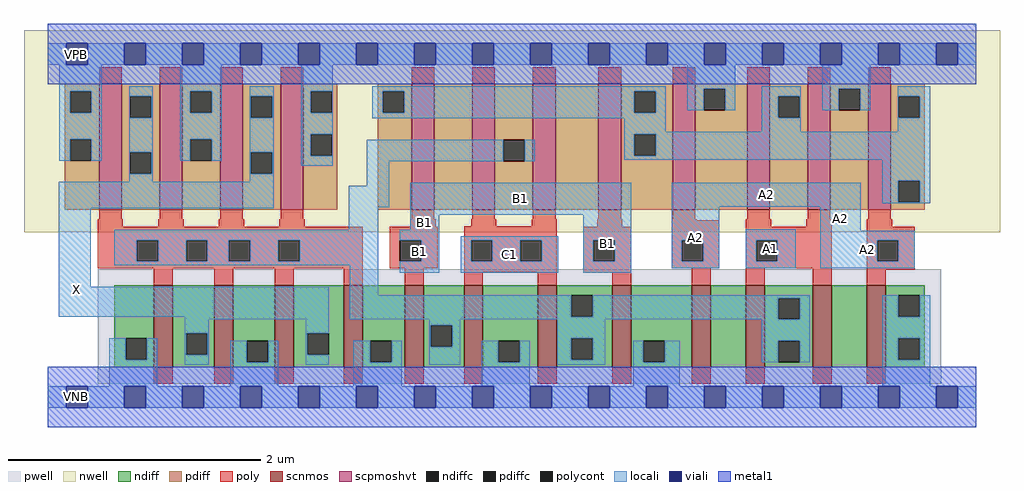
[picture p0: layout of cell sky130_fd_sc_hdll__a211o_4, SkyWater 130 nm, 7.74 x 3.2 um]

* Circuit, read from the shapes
.subckt sky130_fd_sc_hdll__a211o_4 A1 A2 B1 C1 VGND VNB VPB VPWR X
XM1 X n1 VGND VNB sky130_fd_pr__nfet_01v8 w=0.65 l=0.15 m=4
XM2 n1 B1 VGND VNB sky130_fd_pr__nfet_01v8 w=0.65 l=0.15 m=2
XM3 VGND C1 n1 VNB sky130_fd_pr__nfet_01v8 w=0.65 l=0.15 m=2
XM4 n2 A2 VGND VNB sky130_fd_pr__nfet_01v8 w=0.65 l=0.15
XM5 n1 A1 n2 VNB sky130_fd_pr__nfet_01v8 w=0.65 l=0.15
XM6 n3 A1 n1 VNB sky130_fd_pr__nfet_01v8 w=0.65 l=0.15
XM7 VGND A2 n3 VNB sky130_fd_pr__nfet_01v8 w=0.65 l=0.15
XM8 X n1 VPWR VPB sky130_fd_pr__pfet_01v8_hvt w=1 l=0.18 m=4
XM9 n4 B1 n5 VPB sky130_fd_pr__pfet_01v8_hvt w=1 l=0.18
XM10 n1 C1 n4 VPB sky130_fd_pr__pfet_01v8_hvt w=1 l=0.18
XM11 n6 C1 n1 VPB sky130_fd_pr__pfet_01v8_hvt w=1 l=0.18
XM12 n5 B1 n6 VPB sky130_fd_pr__pfet_01v8_hvt w=1 l=0.18
XM13 VPWR A2 n5 VPB sky130_fd_pr__pfet_01v8_hvt w=1 l=0.18 m=2
XM14 n5 A1 VPWR VPB sky130_fd_pr__pfet_01v8_hvt w=1 l=0.18 m=2
.ends

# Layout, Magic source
magic
tech sky130A
magscale 1 2
<< nwell >>
rect -38 261 1510 582
<< pwell >>
rect 79 21 1417 203
rect 29 -17 63 17
<< scnmos >>
rect 168 47 198 177
rect 264 47 294 177
rect 360 47 390 177
rect 469 47 499 177
rect 566 47 596 177
rect 660 47 690 177
rect 777 47 807 177
rect 895 47 925 177
rect 1021 47 1051 177
rect 1107 47 1137 177
rect 1213 47 1243 177
rect 1299 47 1329 177
<< scpmoshvt >>
rect 81 297 117 497
rect 177 297 213 497
rect 273 297 309 497
rect 369 297 405 497
rect 577 297 613 497
rect 673 297 709 497
rect 769 297 805 497
rect 873 297 909 497
rect 991 297 1027 497
rect 1109 297 1145 497
rect 1205 297 1241 497
rect 1301 297 1337 497
<< ndiff >>
rect 105 93 168 177
rect 105 59 123 93
rect 157 59 168 93
rect 105 47 168 59
rect 198 101 264 177
rect 198 67 219 101
rect 253 67 264 101
rect 198 47 264 67
rect 294 89 360 177
rect 294 55 315 89
rect 349 55 360 89
rect 294 47 360 55
rect 390 101 469 177
rect 390 67 411 101
rect 445 67 469 101
rect 390 47 469 67
rect 499 89 566 177
rect 499 55 511 89
rect 545 55 566 89
rect 499 47 566 55
rect 596 114 660 177
rect 596 80 607 114
rect 641 80 660 114
rect 596 47 660 80
rect 690 89 777 177
rect 690 55 714 89
rect 748 55 777 89
rect 690 47 777 55
rect 807 161 895 177
rect 807 127 830 161
rect 864 127 895 161
rect 807 93 895 127
rect 807 59 830 93
rect 864 59 895 93
rect 807 47 895 59
rect 925 89 1021 177
rect 925 55 944 89
rect 978 55 1021 89
rect 925 47 1021 55
rect 1051 47 1107 177
rect 1137 157 1213 177
rect 1137 123 1158 157
rect 1192 123 1213 157
rect 1137 89 1213 123
rect 1137 55 1158 89
rect 1192 55 1213 89
rect 1137 47 1213 55
rect 1243 47 1299 177
rect 1329 161 1391 177
rect 1329 127 1349 161
rect 1383 127 1391 161
rect 1329 93 1391 127
rect 1329 59 1349 93
rect 1383 59 1391 93
rect 1329 47 1391 59
<< pdiff >>
rect 27 485 81 497
rect 27 451 35 485
rect 69 451 81 485
rect 27 409 81 451
rect 27 375 35 409
rect 69 375 81 409
rect 27 297 81 375
rect 117 477 177 497
rect 117 443 130 477
rect 164 443 177 477
rect 117 388 177 443
rect 117 354 130 388
rect 164 354 177 388
rect 117 297 177 354
rect 213 485 273 497
rect 213 451 226 485
rect 260 451 273 485
rect 213 409 273 451
rect 213 375 226 409
rect 260 375 273 409
rect 213 297 273 375
rect 309 477 369 497
rect 309 443 322 477
rect 356 443 369 477
rect 309 388 369 443
rect 309 354 322 388
rect 356 354 369 388
rect 309 297 369 354
rect 405 485 459 497
rect 405 451 417 485
rect 451 451 459 485
rect 405 417 459 451
rect 405 383 417 417
rect 451 383 459 417
rect 405 297 459 383
rect 523 485 577 497
rect 523 451 531 485
rect 565 451 577 485
rect 523 297 577 451
rect 613 297 673 497
rect 709 408 769 497
rect 709 374 722 408
rect 756 374 769 408
rect 709 297 769 374
rect 805 297 873 497
rect 909 485 991 497
rect 909 451 930 485
rect 964 451 991 485
rect 909 417 991 451
rect 909 383 930 417
rect 964 383 991 417
rect 909 297 991 383
rect 1027 489 1109 497
rect 1027 455 1040 489
rect 1074 455 1109 489
rect 1027 297 1109 455
rect 1145 477 1205 497
rect 1145 443 1158 477
rect 1192 443 1205 477
rect 1145 297 1205 443
rect 1241 489 1301 497
rect 1241 455 1254 489
rect 1288 455 1301 489
rect 1241 297 1301 455
rect 1337 477 1391 497
rect 1337 443 1349 477
rect 1383 443 1391 477
rect 1337 343 1391 443
rect 1337 309 1349 343
rect 1383 309 1391 343
rect 1337 297 1391 309
<< ndiffc >>
rect 123 59 157 93
rect 219 67 253 101
rect 315 55 349 89
rect 411 67 445 101
rect 511 55 545 89
rect 607 80 641 114
rect 714 55 748 89
rect 830 127 864 161
rect 830 59 864 93
rect 944 55 978 89
rect 1158 123 1192 157
rect 1158 55 1192 89
rect 1349 127 1383 161
rect 1349 59 1383 93
<< pdiffc >>
rect 35 451 69 485
rect 35 375 69 409
rect 130 443 164 477
rect 130 354 164 388
rect 226 451 260 485
rect 226 375 260 409
rect 322 443 356 477
rect 322 354 356 388
rect 417 451 451 485
rect 417 383 451 417
rect 531 451 565 485
rect 722 374 756 408
rect 930 451 964 485
rect 930 383 964 417
rect 1040 455 1074 489
rect 1158 443 1192 477
rect 1254 455 1288 489
rect 1349 443 1383 477
rect 1349 309 1383 343
<< poly >>
rect 81 497 117 523
rect 177 497 213 523
rect 273 497 309 523
rect 369 497 405 523
rect 577 497 613 523
rect 673 497 709 523
rect 769 497 805 523
rect 873 497 909 523
rect 991 497 1027 523
rect 1109 497 1145 523
rect 1205 497 1241 523
rect 1301 497 1337 523
rect 81 282 117 297
rect 177 282 213 297
rect 273 282 309 297
rect 369 282 405 297
rect 577 282 613 297
rect 673 282 709 297
rect 769 282 805 297
rect 873 282 909 297
rect 991 282 1027 297
rect 1109 282 1145 297
rect 1205 282 1241 297
rect 1301 282 1337 297
rect 79 270 119 282
rect 175 270 215 282
rect 271 270 311 282
rect 367 270 407 282
rect 575 270 615 282
rect 671 271 711 282
rect 767 271 807 282
rect 79 249 499 270
rect 79 215 141 249
rect 175 215 219 249
rect 253 215 287 249
rect 321 215 365 249
rect 399 215 499 249
rect 79 204 499 215
rect 542 249 618 270
rect 542 215 558 249
rect 592 215 618 249
rect 542 204 618 215
rect 660 249 807 271
rect 871 270 911 282
rect 989 280 1029 282
rect 660 215 671 249
rect 705 215 749 249
rect 783 215 807 249
rect 168 177 198 204
rect 264 177 294 204
rect 360 177 390 204
rect 469 177 499 204
rect 566 177 596 204
rect 660 198 807 215
rect 660 177 690 198
rect 777 177 807 198
rect 849 249 925 270
rect 849 215 865 249
rect 899 215 925 249
rect 849 197 925 215
rect 989 249 1065 280
rect 989 215 1005 249
rect 1039 215 1065 249
rect 989 204 1065 215
rect 1107 270 1147 282
rect 1203 270 1243 282
rect 1107 249 1243 270
rect 1107 215 1123 249
rect 1157 215 1243 249
rect 1107 204 1243 215
rect 895 177 925 197
rect 1021 177 1051 204
rect 1107 177 1137 204
rect 1213 177 1243 204
rect 1299 270 1339 282
rect 1299 249 1375 270
rect 1299 215 1315 249
rect 1349 215 1375 249
rect 1299 202 1375 215
rect 1299 177 1329 202
rect 168 21 198 47
rect 264 21 294 47
rect 360 21 390 47
rect 469 21 499 47
rect 566 21 596 47
rect 660 21 690 47
rect 777 21 807 47
rect 895 21 925 47
rect 1021 21 1051 47
rect 1107 21 1137 47
rect 1213 21 1243 47
rect 1299 21 1329 47
<< polycont >>
rect 141 215 175 249
rect 219 215 253 249
rect 287 215 321 249
rect 365 215 399 249
rect 558 215 592 249
rect 671 215 705 249
rect 749 215 783 249
rect 865 215 899 249
rect 1005 215 1039 249
rect 1123 215 1157 249
rect 1315 215 1349 249
<< locali >>
rect 0 527 29 561
rect 63 527 121 561
rect 155 527 213 561
rect 247 527 305 561
rect 339 527 397 561
rect 431 527 489 561
rect 523 527 581 561
rect 615 527 673 561
rect 707 527 765 561
rect 799 527 857 561
rect 891 527 949 561
rect 983 527 1041 561
rect 1075 527 1133 561
rect 1167 527 1225 561
rect 1259 527 1317 561
rect 1351 527 1409 561
rect 1443 527 1472 561
rect 18 485 85 527
rect 18 451 35 485
rect 69 451 85 485
rect 18 409 85 451
rect 18 375 35 409
rect 69 375 85 409
rect 129 477 166 493
rect 129 443 130 477
rect 164 443 166 477
rect 129 388 166 443
rect 129 354 130 388
rect 164 354 166 388
rect 210 485 276 527
rect 210 451 226 485
rect 260 451 276 485
rect 210 409 276 451
rect 210 375 226 409
rect 260 375 276 409
rect 320 477 358 493
rect 320 443 322 477
rect 356 443 358 477
rect 320 388 358 443
rect 129 341 166 354
rect 320 354 322 388
rect 356 354 358 388
rect 402 485 452 527
rect 402 451 417 485
rect 451 451 452 485
rect 402 417 452 451
rect 514 485 980 493
rect 514 451 531 485
rect 565 451 930 485
rect 964 451 980 485
rect 1014 489 1090 527
rect 1014 455 1040 489
rect 1074 455 1090 489
rect 1132 477 1194 493
rect 514 442 980 451
rect 402 383 417 417
rect 451 383 452 417
rect 914 421 980 442
rect 1132 443 1158 477
rect 1192 443 1194 477
rect 1228 489 1304 527
rect 1228 455 1254 489
rect 1288 455 1304 489
rect 1348 477 1399 493
rect 1132 421 1194 443
rect 1348 443 1349 477
rect 1383 443 1399 477
rect 1348 421 1399 443
rect 914 417 1399 421
rect 402 367 452 383
rect 506 374 722 408
rect 756 374 772 408
rect 914 383 930 417
rect 964 383 1399 417
rect 914 376 1399 383
rect 320 341 358 354
rect 17 299 358 341
rect 506 335 541 374
rect 1323 343 1399 376
rect 477 301 541 335
rect 17 175 68 299
rect 477 265 524 301
rect 575 289 925 340
rect 575 265 621 289
rect 105 249 524 265
rect 105 215 141 249
rect 175 215 219 249
rect 253 215 287 249
rect 321 215 365 249
rect 399 215 524 249
rect 105 209 524 215
rect 17 127 445 175
rect 217 123 445 127
rect 479 161 524 209
rect 558 249 621 265
rect 592 215 621 249
rect 558 197 621 215
rect 655 249 809 255
rect 655 215 671 249
rect 705 215 749 249
rect 783 215 809 249
rect 655 197 809 215
rect 849 249 925 289
rect 849 215 865 249
rect 899 215 925 249
rect 849 197 925 215
rect 989 302 1289 340
rect 1323 309 1349 343
rect 1383 309 1399 343
rect 1323 307 1399 309
rect 989 249 1065 302
rect 989 215 1005 249
rect 1039 215 1065 249
rect 989 204 1065 215
rect 1107 249 1186 266
rect 1107 215 1123 249
rect 1157 215 1186 249
rect 1107 204 1186 215
rect 1225 264 1289 302
rect 1225 249 1375 264
rect 1225 215 1315 249
rect 1349 215 1375 249
rect 1225 204 1375 215
rect 479 127 830 161
rect 864 157 1208 161
rect 864 127 1158 157
rect 479 123 1158 127
rect 1192 123 1208 157
rect 217 101 255 123
rect 97 59 123 93
rect 157 59 173 93
rect 97 17 173 59
rect 217 67 219 101
rect 253 67 255 101
rect 409 101 445 123
rect 217 51 255 67
rect 289 55 315 89
rect 349 55 365 89
rect 289 17 365 55
rect 409 67 411 101
rect 605 114 654 123
rect 409 51 445 67
rect 484 55 511 89
rect 545 55 561 89
rect 484 17 561 55
rect 605 80 607 114
rect 641 80 654 114
rect 808 93 884 123
rect 605 51 654 80
rect 688 55 714 89
rect 748 55 764 89
rect 688 17 764 55
rect 808 59 830 93
rect 864 59 884 93
rect 1132 89 1208 123
rect 808 51 884 59
rect 928 55 944 89
rect 978 55 1002 89
rect 1132 55 1158 89
rect 1192 55 1208 89
rect 1323 127 1349 161
rect 1383 127 1399 161
rect 1323 93 1399 127
rect 1323 59 1349 93
rect 1383 59 1399 93
rect 928 17 1002 55
rect 1323 17 1399 59
rect 0 -17 29 17
rect 63 -17 121 17
rect 155 -17 213 17
rect 247 -17 305 17
rect 339 -17 397 17
rect 431 -17 489 17
rect 523 -17 581 17
rect 615 -17 673 17
rect 707 -17 765 17
rect 799 -17 857 17
rect 891 -17 949 17
rect 983 -17 1041 17
rect 1075 -17 1133 17
rect 1167 -17 1225 17
rect 1259 -17 1317 17
rect 1351 -17 1409 17
rect 1443 -17 1472 17
<< viali >>
rect 29 527 63 561
rect 121 527 155 561
rect 213 527 247 561
rect 305 527 339 561
rect 397 527 431 561
rect 489 527 523 561
rect 581 527 615 561
rect 673 527 707 561
rect 765 527 799 561
rect 857 527 891 561
rect 949 527 983 561
rect 1041 527 1075 561
rect 1133 527 1167 561
rect 1225 527 1259 561
rect 1317 527 1351 561
rect 1409 527 1443 561
rect 29 -17 63 17
rect 121 -17 155 17
rect 213 -17 247 17
rect 305 -17 339 17
rect 397 -17 431 17
rect 489 -17 523 17
rect 581 -17 615 17
rect 673 -17 707 17
rect 765 -17 799 17
rect 857 -17 891 17
rect 949 -17 983 17
rect 1041 -17 1075 17
rect 1133 -17 1167 17
rect 1225 -17 1259 17
rect 1317 -17 1351 17
rect 1409 -17 1443 17
<< metal1 >>
rect 0 561 1472 592
rect 0 527 29 561
rect 63 527 121 561
rect 155 527 213 561
rect 247 527 305 561
rect 339 527 397 561
rect 431 527 489 561
rect 523 527 581 561
rect 615 527 673 561
rect 707 527 765 561
rect 799 527 857 561
rect 891 527 949 561
rect 983 527 1041 561
rect 1075 527 1133 561
rect 1167 527 1225 561
rect 1259 527 1317 561
rect 1351 527 1409 561
rect 1443 527 1472 561
rect 0 496 1472 527
rect 0 17 1472 48
rect 0 -17 29 17
rect 63 -17 121 17
rect 155 -17 213 17
rect 247 -17 305 17
rect 339 -17 397 17
rect 431 -17 489 17
rect 523 -17 581 17
rect 615 -17 673 17
rect 707 -17 765 17
rect 799 -17 857 17
rect 891 -17 949 17
rect 983 -17 1041 17
rect 1075 -17 1133 17
rect 1167 -17 1225 17
rect 1259 -17 1317 17
rect 1351 -17 1409 17
rect 1443 -17 1472 17
rect 0 -48 1472 -17
<< labels >>
flabel pwell s 29 -17 63 17 0 FreeSans 200 0 0 0 VNB
port 6 nsew ground bidirectional
flabel nwell s 29 527 63 561 0 FreeSans 200 0 0 0 VPB
port 7 nsew power bidirectional
flabel metal1 s 29 -17 63 17 0 FreeSans 200 0 0 0 VGND
port 5 nsew ground bidirectional
flabel metal1 s 29 527 63 561 0 FreeSans 200 0 0 0 VPWR
port 8 nsew power bidirectional
flabel locali s 655 197 809 255 0 FreeSans 340 0 0 0 C1
port 4 nsew signal input
flabel locali s 849 197 925 289 0 FreeSans 340 0 0 0 B1
port 3 nsew signal input
flabel locali s 29 153 63 187 0 FreeSans 340 0 0 0 X
port 9 nsew signal output
flabel locali s 1225 264 1289 302 0 FreeSans 340 0 0 0 A2
port 2 nsew signal input
flabel locali s 1107 204 1186 266 0 FreeSans 340 0 0 0 A1
port 1 nsew signal input
rlabel comment s 0 0 0 0 4 a211o_4
rlabel locali s 1225 204 1375 264 1 A2
port 2 nsew signal input
rlabel locali s 989 302 1289 340 1 A2
port 2 nsew signal input
rlabel locali s 989 204 1065 302 1 A2
port 2 nsew signal input
rlabel locali s 575 289 925 340 1 B1
port 3 nsew signal input
rlabel locali s 575 265 621 289 1 B1
port 3 nsew signal input
rlabel locali s 558 197 621 265 1 B1
port 3 nsew signal input
<< properties >>
string LEFsite unithd
string LEFclass CORE
string FIXED_BBOX 0 0 1472 544
string GDS_FILE $PDKPATH/libs.ref/sky130_fd_sc_hdll/gds/sky130_fd_sc_hdll.gds
string LEFsymmetry X Y R90
string GDS_END 801778
string GDS_START 792110
string LEFproperties maskLayoutSubType "abstract" prCellType "standard" originalViewName "layout"
<< end >>
